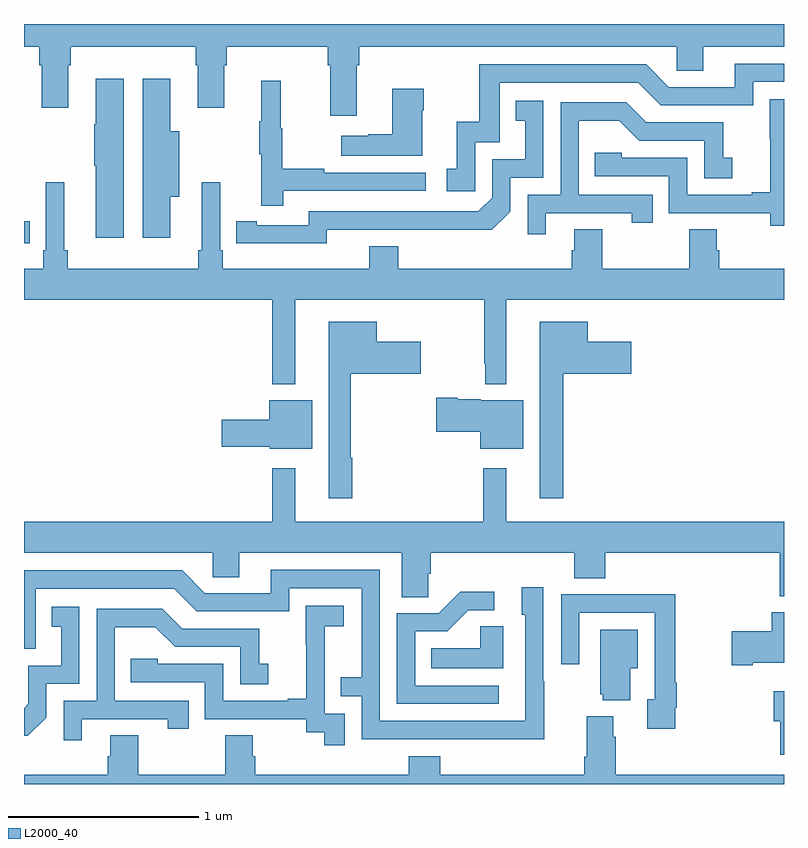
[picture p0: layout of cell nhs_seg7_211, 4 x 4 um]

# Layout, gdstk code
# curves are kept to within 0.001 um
import gdstk
lib = gdstk.Library(unit=1e-6, precision=1e-09)
def R(c, l, rs):  # rectangles x0, y0, x1, y1
    for r in rs: c.add(gdstk.rectangle(r[:2], r[2:], *l))
def P(c, l, *ps):  # polygons
    for p in ps: c.add(gdstk.Polygon(p, *l))
L2000_40 = (2000, 40)

nhs_seg7_211 = lib.new_cell('nhs_seg7_211')
R(nhs_seg7_211, L2000_40, [(125,1068.846,125.03,1068.962)])
P(nhs_seg7_211, L2000_40, [(126.751,1069.784),(126.764,1069.784),(126.764,1069.88),(128.436,1069.88),(128.436,1069.753),(128.575,1069.753),(128.575,1069.88),(129,1069.88),(129,1070),(125,1070),(125,1069.88),(125.081,1069.88),(125.081,1069.784),(125.093,1069.784),(125.093,1069.56),(125.233,1069.56),(125.233,1069.784),(125.246,1069.784),(125.246,1069.88),(125.903,1069.88),(125.903,1069.784),(125.915,1069.784),(125.915,1069.56),(126.055,1069.56),(126.055,1069.784),(126.068,1069.784),(126.068,1069.88),(126.599,1069.88),(126.599,1069.784),(126.611,1069.784),(126.611,1069.518),(126.751,1069.518)],
  [(127.374,1069.377),(127.503,1069.377),(127.503,1069.692),(128.232,1069.692),(128.352,1069.572),(128.838,1069.572),(128.838,1069.695),(129,1069.695),(129,1069.791),(128.741,1069.791),(128.741,1069.668),(128.394,1069.668),(128.274,1069.788),(127.395,1069.788),(127.395,1069.486),(127.277,1069.486),(127.277,1069.239),(127.224,1069.239),(127.224,1069.119),(127.374,1069.119)],
  [(125.77,1069.091),(125.818,1069.091),(125.818,1069.435),(125.77,1069.435),(125.77,1069.711),(125.624,1069.711),(125.624,1068.876),(125.77,1068.876)],
  [(125.524,1069.711),(125.378,1069.711),(125.378,1069.472),(125.371,1069.472),(125.371,1069.255),(125.378,1069.255),(125.378,1068.876),(125.524,1068.876)],
  [(126.365,1069.122),(127.114,1069.122),(127.114,1069.218),(126.581,1069.218),(126.581,1069.238),(126.358,1069.238),(126.358,1069.452),(126.35,1069.452),(126.35,1069.702),(126.248,1069.702),(126.248,1069.489),(126.237,1069.489),(126.237,1069.315),(126.248,1069.315),(126.248,1069.044),(126.365,1069.044)],
  [(127.096,1069.547),(127.104,1069.547),(127.104,1069.66),(126.938,1069.66),(126.938,1069.421),(126.812,1069.421),(126.812,1069.411),(126.669,1069.411),(126.669,1069.307),(127.096,1069.307)],
  [(129,1069.603),(128.926,1069.603),(128.926,1069.397),(128.927,1069.397),(128.927,1069.114),(128.831,1069.114),(128.831,1069.101),(128.49,1069.101),(128.49,1069.296),(128.145,1069.296),(128.145,1069.323),(128.005,1069.323),(128.005,1069.2),(128.394,1069.2),(128.394,1069.005),(128.928,1069.005),(128.928,1068.937),(129,1068.937)],
  [(126.594,1068.918),(127.462,1068.917),(127.56,1069.014),(127.56,1069.191),(127.734,1069.191),(127.734,1069.597),(127.588,1069.597),(127.588,1069.491),(127.637,1069.491),(127.637,1069.287),(127.464,1069.287),(127.464,1069.086),(127.392,1069.014),(126.498,1069.014),(126.498,1068.942),(126.226,1068.942),(126.226,1068.962),(126.118,1068.962),(126.118,1068.846),(126.594,1068.845)],
  [(127.747,1069.005),(128.198,1069.005),(128.198,1068.954),(128.309,1068.954),(128.309,1069.101),(127.92,1069.101),(127.92,1069.49),(128.134,1069.49),(128.238,1069.386),(128.58,1069.386),(128.58,1069.188),(128.727,1069.188),(128.727,1069.297),(128.679,1069.297),(128.679,1069.482),(128.275,1069.482),(128.17,1069.587),(127.824,1069.587),(127.824,1069.101),(127.65,1069.101),(127.65,1068.894),(127.747,1068.894)],
  [(126.047,1068.808),(126.033,1068.808),(126.033,1069.168),(125.936,1069.168),(125.936,1068.808),(125.917,1068.808),(125.917,1068.712),(125.231,1068.712),(125.231,1068.808),(125.212,1068.808),(125.212,1069.168),(125.115,1069.168),(125.115,1068.808),(125.102,1068.808),(125.102,1068.712),(125,1068.712),(125,1068.548),(126.306,1068.548),(126.306,1068.104),(126.427,1068.104),(126.427,1068.548),(127.423,1068.548),(127.423,1068.211),(127.427,1068.211),(127.427,1068.104),(127.537,1068.104),(127.537,1068.548),(129,1068.548),(129,1068.712),(128.66,1068.712),(128.66,1068.81),(128.647,1068.81),(128.647,1068.92),(128.5,1068.92),(128.5,1068.712),(128.043,1068.712),(128.043,1068.92),(127.895,1068.92),(127.895,1068.81),(127.883,1068.81),(127.883,1068.712),(126.971,1068.712),(126.971,1068.829),(126.818,1068.829),(126.818,1068.712),(126.047,1068.712)],
  [(126.727,1067.717),(126.719,1067.717),(126.719,1068.158),(127.087,1068.158),(127.087,1068.328),(126.856,1068.328),(126.856,1068.433),(126.605,1068.433),(126.605,1067.505),(126.727,1067.505)],
  [(127.837,1068.158),(128.197,1068.158),(128.197,1068.328),(127.966,1068.328),(127.966,1068.433),(127.715,1068.433),(127.715,1067.505),(127.837,1067.505)],
  [(127.627,1068.019),(127.404,1068.019),(127.404,1068.026),(127.282,1068.026),(127.282,1068.032),(127.17,1068.032),(127.17,1067.854),(127.4,1067.854),(127.4,1067.765),(127.627,1067.765)],
  [(126.517,1068.019),(126.29,1068.019),(126.29,1067.918),(126.042,1067.918),(126.042,1067.776),(126.294,1067.776),(126.294,1067.765),(126.517,1067.765)],
  [(127.128,1067.107),(127.142,1067.107),(127.142,1067.216),(127.895,1067.216),(127.895,1067.083),(128.06,1067.083),(128.06,1067.216),(128.977,1067.216),(128.977,1066.988),(129,1066.988),(129,1067.38),(127.537,1067.38),(127.537,1067.662),(127.416,1067.662),(127.416,1067.38),(126.427,1067.38),(126.427,1067.662),(126.306,1067.662),(126.306,1067.38),(125,1067.38),(125,1067.216),(125.994,1067.216),(125.994,1067.089),(126.133,1067.089),(126.133,1067.216),(126.989,1067.216),(126.989,1066.984),(127.128,1066.984)],
  [(127.737,1066.541),(127.734,1066.541),(127.734,1067.035),(127.619,1067.035),(127.619,1066.89),(127.638,1066.89),(127.638,1066.332),(126.873,1066.332),(126.873,1067.127),(126.299,1067.127),(126.299,1067.004),(125.952,1067.004),(125.832,1067.124),(125,1067.124),(125,1066.713),(125.061,1066.713),(125.061,1067.028),(125.79,1067.028),(125.91,1066.908),(126.396,1066.908),(126.396,1067.031),(126.777,1067.031),(126.777,1066.562),(126.667,1066.562),(126.667,1066.461),(126.777,1066.461),(126.777,1066.236),(127.737,1066.235)],
  [(127.498,1066.518),(127.059,1066.518),(127.059,1066.803),(127.228,1066.803),(127.339,1066.914),(127.474,1066.914),(127.474,1067.012),(127.295,1067.012),(127.182,1066.899),(126.963,1066.899),(126.963,1066.422),(127.498,1066.422)],
  [(128.428,1066.402),(128.435,1066.402),(128.435,1066.534),(128.428,1066.534),(128.428,1067),(128.143,1067),(128.143,1066.998),(127.827,1066.998),(127.827,1066.629),(127.923,1066.629),(127.923,1066.902),(128.319,1066.902),(128.319,1066.446),(128.279,1066.446),(128.279,1066.29),(128.428,1066.29)],
  [(126.687,1066.371),(126.582,1066.371),(126.582,1066.601),(126.584,1066.601),(126.584,1066.829),(126.682,1066.829),(126.682,1066.939),(126.484,1066.939),(126.484,1066.733),(126.485,1066.733),(126.485,1066.45),(126.389,1066.45),(126.389,1066.437),(126.048,1066.437),(126.048,1066.632),(125.703,1066.632),(125.703,1066.659),(125.563,1066.659),(125.563,1066.536),(125.952,1066.536),(125.952,1066.341),(126.486,1066.341),(126.486,1066.273),(126.579,1066.273),(126.579,1066.203),(126.687,1066.203)],
  [(125.118,1066.35),(125.118,1066.527),(125.292,1066.527),(125.292,1066.933),(125.146,1066.933),(125.146,1066.827),(125.195,1066.827),(125.195,1066.623),(125.022,1066.623),(125.022,1066.422),(125,1066.4),(125,1066.253),(125.02,1066.253)],
  [(125.305,1066.341),(125.756,1066.341),(125.756,1066.29),(125.867,1066.29),(125.867,1066.437),(125.478,1066.437),(125.478,1066.826),(125.692,1066.826),(125.796,1066.722),(126.138,1066.722),(126.138,1066.524),(126.286,1066.524),(126.286,1066.633),(126.237,1066.633),(126.237,1066.818),(125.833,1066.818),(125.728,1066.923),(125.382,1066.923),(125.382,1066.437),(125.208,1066.437),(125.208,1066.23),(125.305,1066.23)],
  [(128.836,1066.637),(129,1066.637),(129,1066.903),(128.936,1066.903),(128.936,1066.803),(128.724,1066.803),(128.724,1066.625),(128.836,1066.625)],
  [(127.522,1066.829),(127.401,1066.829),(127.401,1066.714),(127.144,1066.714),(127.144,1066.61),(127.522,1066.61)],
  [(128.191,1066.61),(128.23,1066.61),(128.23,1066.813),(128.033,1066.813),(128.033,1066.473),(128.045,1066.473),(128.045,1066.442),(128.191,1066.442)],
  [(129,1066.489),(128.946,1066.489),(128.946,1066.331),(128.98,1066.331),(128.98,1066.155),(129,1066.155)],
  [(129,1066.048),(128.114,1066.048),(128.114,1066.25),(128.101,1066.25),(128.101,1066.357),(127.961,1066.357),(127.961,1066.144),(127.949,1066.144),(127.949,1066.048),(127.19,1066.048),(127.19,1066.147),(127.025,1066.147),(127.025,1066.048),(126.218,1066.048),(126.218,1066.146),(126.205,1066.146),(126.205,1066.256),(126.058,1066.256),(126.058,1066.048),(125.601,1066.048),(125.601,1066.256),(125.453,1066.256),(125.453,1066.146),(125.441,1066.146),(125.441,1066.048),(125,1066.048),(125,1066),(129,1066)])

lib.write_gds('nhs_seg7_211.gds')
